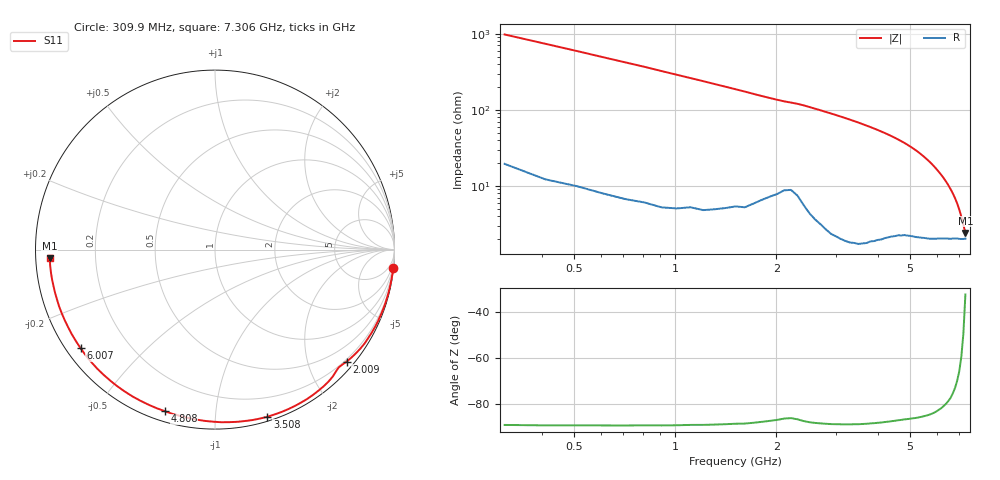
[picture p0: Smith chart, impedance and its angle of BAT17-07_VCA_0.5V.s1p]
! Infineon Technologies  Discrete & RF Semiconductors
! BAT17-07
! VCA = 0.5 V
! One-Port S-Parameters
# Hz  S  MA  R  50
!f  S11
!Hz  Mag  Ang
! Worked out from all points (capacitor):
!   71 points, 309.9 MHz to 7.306 GHz, reference 50 ohm
!   read as one part to ground: C = 527 fF near 309.9 MHz
!   lowest |Z| = 2.41 ohm at 7.306 GHz (marker M1)
!   S11 on the Smith chart (normalised r, x): 309.9 MHz: 0, -20; 2.009 GHz: 0.16, -2.71; 3.508 GHz: 0.03, -1.36; 4.808 GHz: 0.05, -0.73; 6.007 GHz: 0.04, -0.33; 7.306 GHz: 0.04, -0.03
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3.0985e8  0.998 -5.9
8.096e8  0.9956 -15.5
1.2094e9  0.9919 -23.7
1.6092e9  0.984 -32.1
1.8091e9  0.9745 -36.4
2.009e9  0.963 -40.4
2.10895e9  0.9553 -42.2
2.30885e9  0.9566 -45.2
2.50875e9  0.97 -49.3
2.8086e9  0.9765 -56.2
3.0085e9  0.9779 -60.7
3.30835e9  0.9777 -67.8
3.50825e9  0.9759 -72.6
3.8081e9  0.9694 -80.1
4.10795e9  0.9624 -87.9
4.30785e9  0.9562 -93.3
4.50775e9  0.9506 -98.7
4.70765e9  0.9455 -104.4
4.8076e9  0.9428 -107.3
5.0075e9  0.9401 -113.2
5.2074e9  0.9383 -119.3
5.4073e9  0.936 -125.5
5.6072e9  0.9337 -131.7
6.007e9  0.929 -143.8
6.2069e9  0.9268 -149.4
6.50675e9  0.9246 -157.4
6.90655e9  0.9224 -167.4
7.30635e9  0.9218 -177.0
